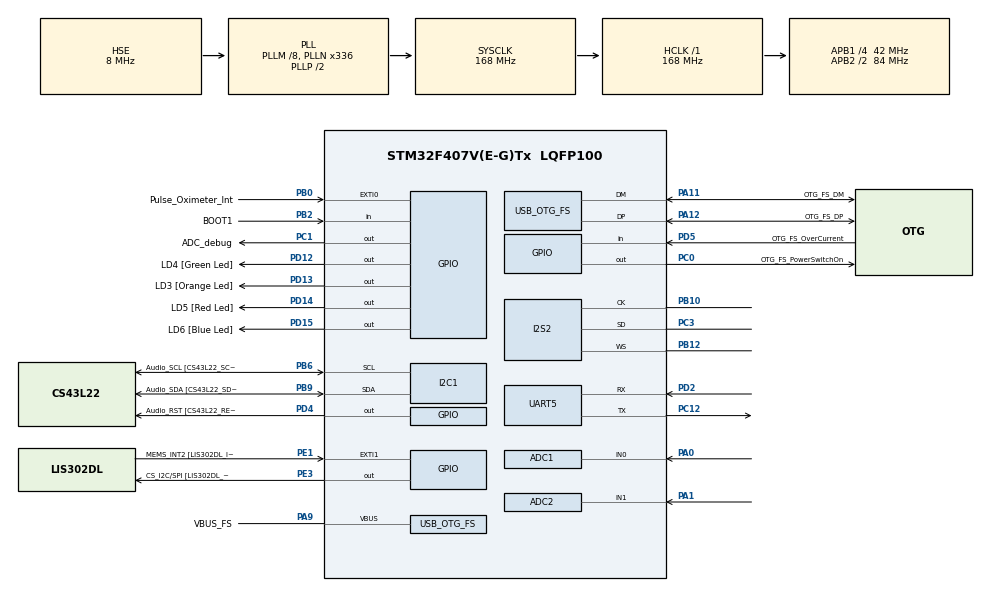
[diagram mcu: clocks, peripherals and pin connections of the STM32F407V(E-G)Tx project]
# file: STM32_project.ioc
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ADC1.Channel-1\#ChannelRegularConversion=ADC_CHANNEL_0
ADC1.ContinuousConvMode=DISABLE
ADC1.DMAContinuousRequests=ENABLE
ADC1.DiscontinuousConvMode=DISABLE
ADC1.ExternalTrigConv=ADC_EXTERNALTRIGCONV_T2_TRGO
ADC1.Mode=ADC_DUALMODE_REGSIMULT
ADC1.NbrOfConversion=1
ADC1.NbrOfConversionFlag=1
ADC1.Rank-1\#ChannelRegularConversion=1
ADC1.SamplingTime-1\#ChannelRegularConversion=ADC_SAMPLETIME_28CYCLES
ADC1.master=1
ADC2.Channel-6\#ChannelRegularConversion=ADC_CHANNEL_1
ADC2.DMAContinuousRequests=ENABLE
ADC2.Mode=ADC_DUALMODE_REGSIMULT
ADC2.NbrOfConversionFlag=1
ADC2.Rank-6\#ChannelRegularConversion=1
ADC2.SamplingTime-6\#ChannelRegularConversion=ADC_SAMPLETIME_28CYCLES
Dma.ADC1.0.Direction=DMA_PERIPH_TO_MEMORY
Dma.ADC1.0.FIFOMode=DMA_FIFOMODE_DISABLE
Dma.ADC1.0.Instance=DMA2_Stream0
Dma.ADC1.0.MemDataAlignment=DMA_MDATAALIGN_HALFWORD
Dma.ADC1.0.MemInc=DMA_MINC_ENABLE
Dma.ADC1.0.Mode=DMA_CIRCULAR
Dma.ADC1.0.PeriphDataAlignment=DMA_PDATAALIGN_HALFWORD
Dma.ADC1.0.PeriphInc=DMA_PINC_DISABLE
Dma.ADC1.0.Priority=DMA_PRIORITY_VERY_HIGH
Dma.ADC2.1.Direction=DMA_PERIPH_TO_MEMORY
Dma.ADC2.1.FIFOMode=DMA_FIFOMODE_DISABLE
Dma.ADC2.1.Instance=DMA2_Stream2
Dma.ADC2.1.MemDataAlignment=DMA_MDATAALIGN_HALFWORD
Dma.ADC2.1.MemInc=DMA_MINC_ENABLE
Dma.ADC2.1.Mode=DMA_CIRCULAR
Dma.ADC2.1.PeriphDataAlignment=DMA_PDATAALIGN_HALFWORD
Dma.ADC2.1.PeriphInc=DMA_PINC_DISABLE
Dma.ADC2.1.Priority=DMA_PRIORITY_VERY_HIGH
Dma.Request0=ADC1
Dma.Request1=ADC2
Dma.Request2=SPI2_TX
Dma.SPI2_TX.2.Direction=DMA_MEMORY_TO_PERIPH
Dma.SPI2_TX.2.FIFOMode=DMA_FIFOMODE_DISABLE
Dma.SPI2_TX.2.Instance=DMA1_Stream4
Dma.SPI2_TX.2.MemDataAlignment=DMA_MDATAALIGN_HALFWORD
Dma.SPI2_TX.2.MemInc=DMA_MINC_ENABLE
Dma.SPI2_TX.2.Mode=DMA_CIRCULAR
Dma.SPI2_TX.2.PeriphDataAlignment=DMA_PDATAALIGN_HALFWORD
Dma.SPI2_TX.2.PeriphInc=DMA_PINC_DISABLE
Dma.SPI2_TX.2.Priority=DMA_PRIORITY_VERY_HIGH
I2C1.I2C_Mode=I2C_Fast
I2S2.AudioFreq=I2S_AUDIOFREQ_48K
I2S2.DataFormat=I2S_DATAFORMAT_16B_EXTENDED
I2S2.ErrorAudioFreq=-0.56 %
I2S2.FullDuplexMode=I2S_FULLDUPLEXMODE_DISABLE
I2S2.Instance=SPI$Index
I2S2.RealAudioFreq=47.727 KHz
I2S2.VirtualMode=I2S_MODE_MASTER
Mcu.Family=STM32F4
Mcu.Name=STM32F407V(E-G)Tx
Mcu.Package=LQFP100
NVIC.DMA1_Stream4_IRQn=true\:0\:0\:false\:false\:true\:false\:true\:true
NVIC.DMA2_Stream0_IRQn=true\:0\:0\:false\:false\:true\:false\:true\:true
NVIC.DMA2_Stream2_IRQn=true\:0\:0\:false\:false\:true\:false\:true\:true
NVIC.EXTI0_IRQn=true\:0\:0\:false\:false\:true\:true\:true\:true
NVIC.OTG_FS_IRQn=true\:0\:0\:false\:false\:true\:true\:true\:true
NVIC.PriorityGroup=NVIC_PRIORITYGROUP_0
PA0-WKUP.Signal=ADCx_IN0
PA1.Signal=ADCx_IN1
PA10.GPIO_Label=OTG_FS_ID
PA10.GPIO_Mode=GPIO_MODE_AF_PP
PA10.GPIO_PuPd=GPIO_NOPULL
PA10.GPIO_Speed=GPIO_SPEED_FREQ_LOW
PA10.Signal=USB_OTG_FS_ID
PA11.GPIO_Label=OTG_FS_DM
PA11.GPIO_Mode=GPIO_MODE_AF_PP
PA11.GPIO_PuPd=GPIO_NOPULL
PA11.GPIO_Speed=GPIO_SPEED_FREQ_LOW
PA11.Mode=Device_Only
PA11.Signal=USB_OTG_FS_DM
PA12.GPIO_Label=OTG_FS_DP
PA12.GPIO_Mode=GPIO_MODE_AF_PP
PA12.GPIO_PuPd=GPIO_NOPULL
PA12.GPIO_Speed=GPIO_SPEED_FREQ_LOW
PA12.Mode=Device_Only
PA12.Signal=USB_OTG_FS_DP
PA13.GPIO_Label=SWDIO
PA13.Mode=Serial_Wire
PA13.Signal=SYS_JTMS-SWDIO
PA14.GPIO_Label=SWCLK
PA14.Mode=Serial_Wire
PA14.Signal=SYS_JTCK-SWCLK
PA9.GPIO_Label=VBUS_FS
PA9.GPIO_Mode=GPIO_MODE_INPUT
PA9.GPIO_PuPd=GPIO_NOPULL
PA9.Mode=Activate_VBUS
PA9.Signal=USB_OTG_FS_VBUS
PB0.GPIO_Label=Pulse_Oximeter_Int
PB0.GPIO_ModeDefaultEXTI=GPIO_MODE_IT_FALLING
PB0.GPIO_PuPd=GPIO_PULLUP
PB0.Signal=GPXTI0
PB10.Mode=Half_Duplex_Master
PB10.Signal=I2S2_CK
PB12.Mode=Half_Duplex_Master
PB12.Signal=I2S2_WS
PB2.GPIO_Label=BOOT1
PB2.GPIO_Mode=GPIO_MODE_INPUT
PB2.GPIO_PuPd=GPIO_NOPULL
PB2.Signal=GPIO_Input
PB3.GPIO_Label=SWO
PB3.Signal=SYS_JTDO-SWO
PB6.GPIO_Label=Audio_SCL [CS43L22_SCL]
PB6.GPIO_Mode=GPIO_MODE_AF_OD
PB6.GPIO_Pu=GPIO_PULLUP
PB6.GPIO_PuPd=GPIO_NOPULL
PB6.GPIO_Speed=GPIO_SPEED_FREQ_LOW
PB6.Mode=I2C
PB6.Signal=I2C1_SCL
PB9.GPIO_Label=Audio_SDA [CS43L22_SDA]
PB9.GPIO_Mode=GPIO_MODE_AF_OD
PB9.GPIO_Pu=GPIO_PULLUP
PB9.GPIO_PuPd=GPIO_NOPULL
PB9.GPIO_Speed=GPIO_SPEED_FREQ_LOW
PB9.Mode=I2C
PB9.Signal=I2C1_SDA
PC0.GPIO_Label=OTG_FS_PowerSwitchOn
PC0.GPIO_PuPd=GPIO_NOPULL
PC0.GPIO_Speed=GPIO_SPEED_FREQ_LOW
PC0.PinState=GPIO_PIN_SET
PC0.Signal=GPIO_Output
PC1.GPIO_Label=ADC_debug
PC1.GPIO_Speed=GPIO_SPEED_FREQ_VERY_HIGH
PC1.Signal=GPIO_Output
PC12.Mode=Asynchronous
PC12.Signal=UART5_TX
PC14-OSC32_IN.GPIO_Label=PC14-OSC32_IN
PC14-OSC32_IN.Mode=LSE-External-Oscillator
PC14-OSC32_IN.Signal=RCC_OSC32_IN
PC15-OSC32_OUT.GPIO_Label=PC15-OSC32_OUT
PC15-OSC32_OUT.Mode=LSE-External-Oscillator
PC15-OSC32_OUT.Signal=RCC_OSC32_OUT
PC3.Mode=Half_Duplex_Master
PC3.Signal=I2S2_SD
PD12.GPIO_Label=LD4 [Green Led]
PD12.GPIO_PuPd=GPIO_NOPULL
PD12.GPIO_Speed=GPIO_SPEED_FREQ_LOW
PD12.Signal=GPIO_Output
PD13.GPIO_Label=LD3 [Orange Led]
PD13.GPIO_PuPd=GPIO_NOPULL
PD13.GPIO_Speed=GPIO_SPEED_FREQ_LOW
PD13.Signal=GPIO_Output
PD14.GPIO_Label=LD5 [Red Led]
PD14.GPIO_PuPd=GPIO_NOPULL
PD14.GPIO_Speed=GPIO_SPEED_FREQ_LOW
PD14.Signal=GPIO_Output
PD15.GPIO_Label=LD6 [Blue Led]
PD15.GPIO_PuPd=GPIO_NOPULL
PD15.GPIO_Speed=GPIO_SPEED_FREQ_LOW
PD15.Signal=GPIO_Output
PD2.Mode=Asynchronous
PD2.Signal=UART5_RX
PD4.GPIO_Label=Audio_RST [CS43L22_RESET]
PD4.GPIO_PuPd=GPIO_NOPULL
PD4.GPIO_Speed=GPIO_SPEED_FREQ_LOW
PD4.Signal=GPIO_Output
PD5.GPIO_Label=OTG_FS_OverCurrent
PD5.GPIO_Mode=GPIO_MODE_INPUT
PD5.GPIO_PuPd=GPIO_NOPULL
PD5.Signal=GPIO_Input
PE1.GPIO_Label=MEMS_INT2 [LIS302DL_INT2]
PE1.GPIO_ModeDefaultEXTI=GPIO_MODE_EVT_RISING
PE1.GPIO_PuPd=GPIO_NOPULL
PE1.Signal=GPXTI1
PE3.GPIO_Label=CS_I2C/SPI [LIS302DL_CS_I2C/SPI]
PE3.GPIO_PuPd=GPIO_NOPULL
PE3.GPIO_Speed=GPIO_SPEED_FREQ_LOW
PE3.Signal=GPIO_Output
PH0-OSC_IN.GPIO_Label=PH0-OSC_IN
PH0-OSC_IN.Mode=HSE-External-Oscillator
PH0-OSC_IN.Signal=RCC_OSC_IN
PH1-OSC_OUT.GPIO_Label=PH1-OSC_OUT
PH1-OSC_OUT.Mode=HSE-External-Oscillator
PH1-OSC_OUT.Signal=RCC_OSC_OUT
ProjectManager.HeapSize=0x200
ProjectManager.StackSize=0x400
ProjectManager.TargetToolchain=STM32CubeIDE
RCC.48MHZClocksFreq_Value=48000000
RCC.AHBFreq_Value=168000000
RCC.APB1CLKDivider=RCC_HCLK_DIV4
RCC.APB1Freq_Value=42000000
RCC.APB1TimFreq_Value=84000000
RCC.APB2CLKDivider=RCC_HCLK_DIV2
RCC.APB2Freq_Value=84000000
RCC.APB2TimFreq_Value=168000000
RCC.CortexFreq_Value=168000000
RCC.HCLKFreq_Value=168000000
RCC.HSE_VALUE=8000000
RCC.HSI_VALUE=16000000
RCC.PLLI2SN=336
RCC.PLLM=8
RCC.PLLN=336
RCC.PLLQ=7
RCC.SYSCLKFreq_VALUE=168000000
RCC.SYSCLKSource=RCC_SYSCLKSOURCE_PLLCLK
RCC.VCOOutputFreq_Value=336000000
SH.ADCx_IN0.0=ADC1_IN0,IN0
SH.ADCx_IN1.0=ADC2_IN1,IN1
TIM2.AutoReloadPreload=TIM_AUTORELOAD_PRELOAD_DISABLE
TIM2.Channel-PWM\ Generation1\ No\ Output=TIM_CHANNEL_1
TIM2.Period=439
TIM2.Prescaler=0
TIM2.Pulse-PWM\ Generation1\ No\ Output=0
TIM2.TIM_MasterOutputTrigger=TIM_TRGO_UPDATE
UART5.VirtualMode=Asynchronous
USB_DEVICE.CLASS_NAME_FS=CDC
USB_DEVICE.VirtualMode-CDC_FS=Cdc
USB_DEVICE.VirtualModeFS=Cdc_FS
USB_OTG_FS.VirtualMode=Device_Only
VP_TIM2_VS_ClockSourceINT.Mode=Internal
VP_TIM2_VS_no_output1.Mode=PWM Generation1 No Output
VP_USB_DEVICE_VS_USB_DEVICE_CDC_FS.Mode=CDC_FS
board=STM32F407G-DISC1

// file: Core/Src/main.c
/* USER CODE BEGIN Header */
/**
 ******************************************************************************
 * @file           : main.c
 * @brief          : Main program body
 ******************************************************************************
 * @attention
 *
 * Copyright (c) 2025 STMicroelectronics.
 * All rights reserved.
 *
 * This software is licensed under terms that can be found in the LICENSE file
 * in the root directory of this software component.
 * If no LICENSE file comes with this software, it is provided AS-IS.
 *
 ******************************************************************************
 */
/* USER CODE END Header */
#include "main.h"
#include "usb_device.h"

/* USER CODE BEGIN Includes */
#include "usbd_cdc_if.h"
#include "system.h"
#include "max30102.h"

#include <math.h>  // Include for sqrt function for RMS

/* USER CODE END Includes */

/* USER CODE BEGIN PD */
#define BPM_SAMPLES_TO_KEEP (MAX30102_SAMPLE_RATE * 3) // want to detect HR at ~20bpm. translates to time of 3 seconds
#define SPO2_SAMPLES_TO_KEEP 1 // maybe just average processed data (moving average)

#define WINDOW_SIZE 10 // window size to average noise level
#define SEND_PULSEOX_PERIOD_MS 1000

#define MIC_OVERSAMPLING 8 // number of samples averaged into a single sample
#define ADC_DC_FILT_COEFF 0.999 // gives -10dB @ 20hz with -20dB/decade roll-off at 40kHz f_sample

/* USER CODE END PD */

ADC_HandleTypeDef hadc1;
ADC_HandleTypeDef hadc2;
DMA_HandleTypeDef hdma_adc1;
DMA_HandleTypeDef hdma_adc2;

I2C_HandleTypeDef hi2c1;

I2S_HandleTypeDef hi2s2;
DMA_HandleTypeDef hdma_spi2_tx;

TIM_HandleTypeDef htim2;

UART_HandleTypeDef huart5;

/* USER CODE BEGIN PV */
long currentMillis = 0;
long lastMillis = 0;

volatile uint8_t pulseOximiterIntFlag = 0;

uint16_t adc1_buffer[MIC_OVERSAMPLING] = {0};
uint16_t adc2_buffer[MIC_OVERSAMPLING] = {0};

volatile int16_t audio_tx_buffer[2] = {0};  // I2S DMA transmit buffer, one for each microphone

uint8_t txBuffer[2] = {0}; // uart buffer for the heart rate transmission to the rpi

/* USER CODE END PV */

void SystemClock_Config(void);
static void MX_GPIO_Init(void);
static void MX_DMA_Init(void);
static void MX_I2C1_Init(void);
static void MX_ADC1_Init(void);
static void MX_TIM2_Init(void);
static void MX_ADC2_Init(void);
static void MX_UART5_Init(void);
static void MX_I2S2_Init(void);

int main(void)
{

  /* MCU Configuration--------------------------------------------------------*/

  /* Reset of all peripherals, Initializes the Flash interface and the Systick. */
  HAL_Init();

  /* Configure the system clock */
  SystemClock_Config();

  /* Initialize all configured peripherals */
  MX_GPIO_Init();
  MX_DMA_Init();
  MX_I2C1_Init();
  MX_USB_DEVICE_Init();
  MX_ADC1_Init();
  MX_TIM2_Init();
  MX_ADC2_Init();
  MX_UART5_Init();
  MX_I2S2_Init();
  /* USER CODE BEGIN 2 */

    MAX30102_Init(); // configure the heart rate sensor

    //HAL_TIM_Base_Start(&htim2); // enable microphone sample timer

    // enable DMA for microphone to record data
	//HAL_ADC_Start_DMA(&hadc1, (uint32_t*)adc_buffer, 2 * MIC_OVERSAMPLING); // cast to 32 because STM moment
	//HAL_I2S_Transmit_DMA(&hi2s2, (uint16_t*)audio_tx_buffer, 2);
    // Ensure an integer number of periods fits into the buffer

    HAL_TIM_Base_Start(&htim2); // enable microphone sample timer

    HAL_ADC_Start_DMA(&hadc2, (uint32_t*)adc2_buffer, MIC_OVERSAMPLING); // cast to 32 because STM moment
    HAL_ADC_Start_DMA(&hadc1, (uint32_t*)adc1_buffer, MIC_OVERSAMPLING); // cast to 32 because STM moment

	HAL_I2S_Transmit_DMA(&hi2s2, (uint16_t*)audio_tx_buffer, 2);

  /* USER CODE END 2 */

  /* Infinite loop */
  /* USER CODE BEGIN WHILE */
	currentMillis = millis();

	while (1)
	{
		if( pulseOximiterIntFlag )
		{
			if (MAX30102_DumpFifo() == HAL_OK) {

				pulseOximiterIntFlag = 0;

				MAX30102_ProcessData();
			}
		}

		// Display the data over the built in USB every 5 seconds
		currentMillis = millis();
		if( currentMillis - lastMillis > SEND_PULSEOX_PERIOD_MS )
		{
			float bpm = MAX30102_getBPM();
			float spo2 = MAX30102_getSPO2();

			// Convert BPM to 8-bit integer
			if (bpm > 255.0f) bpm = 255.0f;
			txBuffer[0] = (uint8_t)bpm;

			// Convert SpO2 to 8-bit integer with range mapping (90%-100%)
			if (spo2 < 90.0f) spo2 = 90.0f;
			if (spo2 > 100.0f) spo2 = 100.0f;
			txBuffer[1] = (uint8_t)((spo2 - 90.0f) * 255.0f / 10.0f);

			// Transmit the data over UART
			HAL_UART_Transmit(&huart5, txBuffer, 2, HAL_MAX_DELAY);

			HAL_GPIO_TogglePin(GPIOD, LD4_Pin | LD3_Pin | LD5_Pin | LD6_Pin);
			lastMillis = currentMillis;
		}
    /* USER CODE END WHILE */

	}
}

void SystemClock_Config(void)
{
  RCC_OscInitTypeDef RCC_OscInitStruct = {0};
  RCC_ClkInitTypeDef RCC_ClkInitStruct = {0};

  /** Configure the main internal regulator output voltage
  */
  __HAL_RCC_PWR_CLK_ENABLE();
  __HAL_PWR_VOLTAGESCALING_CONFIG(PWR_REGULATOR_VOLTAGE_SCALE1);

  /** Initializes the RCC Oscillators according to the specified parameters
  * in the RCC_OscInitTypeDef structure.
  */
  RCC_OscInitStruct.OscillatorType = RCC_OSCILLATORTYPE_HSE;
  RCC_OscInitStruct.HSEState = RCC_HSE_ON;
  RCC_OscInitStruct.PLL.PLLState = RCC_PLL_ON;
  RCC_OscInitStruct.PLL.PLLSource = RCC_PLLSOURCE_HSE;
  RCC_OscInitStruct.PLL.PLLM = 8;
  RCC_OscInitStruct.PLL.PLLN = 336;
  RCC_OscInitStruct.PLL.PLLP = RCC_PLLP_DIV2;
  RCC_OscInitStruct.PLL.PLLQ = 7;
  if (HAL_RCC_OscConfig(&RCC_OscInitStruct) != HAL_OK)
  {
    Error_Handler();
  }

  /** Initializes the CPU, AHB and APB buses clocks
  */
  RCC_ClkInitStruct.ClockType = RCC_CLOCKTYPE_HCLK|RCC_CLOCKTYPE_SYSCLK
                              |RCC_CLOCKTYPE_PCLK1|RCC_CLOCKTYPE_PCLK2;
  RCC_ClkInitStruct.SYSCLKSource = RCC_SYSCLKSOURCE_PLLCLK;
  RCC_ClkInitStruct.AHBCLKDivider = RCC_SYSCLK_DIV1;
  RCC_ClkInitStruct.APB1CLKDivider = RCC_HCLK_DIV4;
  RCC_ClkInitStruct.APB2CLKDivider = RCC_HCLK_DIV2;

  if (HAL_RCC_ClockConfig(&RCC_ClkInitStruct, FLASH_LATENCY_5) != HAL_OK)
  {
    Error_Handler();
  }
}

static void MX_ADC1_Init(void)
{

  ADC_MultiModeTypeDef multimode = {0};
  ADC_ChannelConfTypeDef sConfig = {0};

  /** Configure the global features of the ADC (Clock, Resolution, Data Alignment and number of conversion)
  */
  hadc1.Instance = ADC1;
  hadc1.Init.ClockPrescaler = ADC_CLOCK_SYNC_PCLK_DIV4;
  hadc1.Init.Resolution = ADC_RESOLUTION_12B;
  hadc1.Init.ScanConvMode = DISABLE;
  hadc1.Init.ContinuousConvMode = DISABLE;
  hadc1.Init.DiscontinuousConvMode = DISABLE;
  hadc1.Init.ExternalTrigConvEdge = ADC_EXTERNALTRIGCONVEDGE_RISING;
  hadc1.Init.ExternalTrigConv = ADC_EXTERNALTRIGCONV_T2_TRGO;
  hadc1.Init.DataAlign = ADC_DATAALIGN_RIGHT;
  hadc1.Init.NbrOfConversion = 1;
  hadc1.Init.DMAContinuousRequests = ENABLE;
  hadc1.Init.EOCSelection = ADC_EOC_SINGLE_CONV;
  if (HAL_ADC_Init(&hadc1) != HAL_OK)
  {
    Error_Handler();
  }

  /** Configure the ADC multi-mode
  */
  multimode.Mode = ADC_DUALMODE_REGSIMULT;
  multimode.DMAAccessMode = ADC_DMAACCESSMODE_2;
  multimode.TwoSamplingDelay = ADC_TWOSAMPLINGDELAY_5CYCLES;
  if (HAL_ADCEx_MultiModeConfigChannel(&hadc1, &multimode) != HAL_OK)
  {
    Error_Handler();
  }

  /** Configure for the selected ADC regular channel its corresponding rank in the sequencer and its sample time.
  */
  sConfig.Channel = ADC_CHANNEL_0;
  sConfig.Rank = 1;
  sConfig.SamplingTime = ADC_SAMPLETIME_28CYCLES;
  if (HAL_ADC_ConfigChannel(&hadc1, &sConfig) != HAL_OK)
  {
    Error_Handler();
  }

}

static void MX_ADC2_Init(void)
{

  ADC_ChannelConfTypeDef sConfig = {0};

  /** Configure the global features of the ADC (Clock, Resolution, Data Alignment and number of conversion)
  */
  hadc2.Instance = ADC2;
  hadc2.Init.ClockPrescaler = ADC_CLOCK_SYNC_PCLK_DIV4;
  hadc2.Init.Resolution = ADC_RESOLUTION_12B;
  hadc2.Init.ScanConvMode = DISABLE;
  hadc2.Init.ContinuousConvMode = DISABLE;
  hadc2.Init.DiscontinuousConvMode = DISABLE;
  hadc2.Init.DataAlign = ADC_DATAALIGN_RIGHT;
  hadc2.Init.NbrOfConversion = 1;
  hadc2.Init.DMAContinuousRequests = ENABLE;
  hadc2.Init.EOCSelection = ADC_EOC_SINGLE_CONV;
  if (HAL_ADC_Init(&hadc2) != HAL_OK)
  {
    Error_Handler();
  }

  /** Configure for the selected ADC regular channel its corresponding rank in the sequencer and its sample time.
  */
  sConfig.Channel = ADC_CHANNEL_1;
  sConfig.Rank = 1;
  sConfig.SamplingTime = ADC_SAMPLETIME_28CYCLES;
  if (HAL_ADC_ConfigChannel(&hadc2, &sConfig) != HAL_OK)
  {
    Error_Handler();
  }

}

static void MX_I2C1_Init(void)
{

  hi2c1.Instance = I2C1;
  hi2c1.Init.ClockSpeed = 400000;
  hi2c1.Init.DutyCycle = I2C_DUTYCYCLE_2;
  hi2c1.Init.OwnAddress1 = 0;
  hi2c1.Init.AddressingMode = I2C_ADDRESSINGMODE_7BIT;
  hi2c1.Init.DualAddressMode = I2C_DUALADDRESS_DISABLE;
  hi2c1.Init.OwnAddress2 = 0;
  hi2c1.Init.GeneralCallMode = I2C_GENERALCALL_DISABLE;
  hi2c1.Init.NoStretchMode = I2C_NOSTRETCH_DISABLE;
  if (HAL_I2C_Init(&hi2c1) != HAL_OK)
  {
    Error_Handler();
  }

}

static void MX_I2S2_Init(void)
{

  hi2s2.Instance = SPI2;
  hi2s2.Init.Mode = I2S_MODE_MASTER_TX;
  hi2s2.Init.Standard = I2S_STANDARD_PHILIPS;
  hi2s2.Init.DataFormat = I2S_DATAFORMAT_16B_EXTENDED;
  hi2s2.Init.MCLKOutput = I2S_MCLKOUTPUT_DISABLE;
  hi2s2.Init.AudioFreq = I2S_AUDIOFREQ_48K;
  hi2s2.Init.CPOL = I2S_CPOL_LOW;
  hi2s2.Init.ClockSource = I2S_CLOCK_PLL;
  hi2s2.Init.FullDuplexMode = I2S_FULLDUPLEXMODE_DISABLE;
  if (HAL_I2S_Init(&hi2s2) != HAL_OK)
  {
    Error_Handler();
  }

}

static void MX_TIM2_Init(void)
{

  TIM_ClockConfigTypeDef sClockSourceConfig = {0};
  TIM_MasterConfigTypeDef sMasterConfig = {0};
  TIM_OC_InitTypeDef sConfigOC = {0};

  htim2.Instance = TIM2;
  htim2.Init.Prescaler = 0;
  htim2.Init.CounterMode = TIM_COUNTERMODE_UP;
  htim2.Init.Period = 439;
  htim2.Init.ClockDivision = TIM_CLOCKDIVISION_DIV1;
  htim2.Init.AutoReloadPreload = TIM_AUTORELOAD_PRELOAD_DISABLE;
  if (HAL_TIM_Base_Init(&htim2) != HAL_OK)
  {
    Error_Handler();
  }
  sClockSourceConfig.ClockSource = TIM_CLOCKSOURCE_INTERNAL;
  if (HAL_TIM_ConfigClockSource(&htim2, &sClockSourceConfig) != HAL_OK)
  {
    Error_Handler();
  }
  if (HAL_TIM_PWM_Init(&htim2) != HAL_OK)
  {
    Error_Handler();
  }
  sMasterConfig.MasterOutputTrigger = TIM_TRGO_UPDATE;
  sMasterConfig.MasterSlaveMode = TIM_MASTERSLAVEMODE_DISABLE;
  if (HAL_TIMEx_MasterConfigSynchronization(&htim2, &sMasterConfig) != HAL_OK)
  {
    Error_Handler();
  }
  sConfigOC.OCMode = TIM_OCMODE_PWM1;
  sConfigOC.Pulse = 0;
  sConfigOC.OCPolarity = TIM_OCPOLARITY_HIGH;
  sConfigOC.OCFastMode = TIM_OCFAST_DISABLE;
  if (HAL_TIM_PWM_ConfigChannel(&htim2, &sConfigOC, TIM_CHANNEL_1) != HAL_OK)
  {
    Error_Handler();
  }

}

static void MX_UART5_Init(void)
{

  huart5.Instance = UART5;
  huart5.Init.BaudRate = 115200;
  huart5.Init.WordLength = UART_WORDLENGTH_8B;
  huart5.Init.StopBits = UART_STOPBITS_1;
  huart5.Init.Parity = UART_PARITY_NONE;
  huart5.Init.Mode = UART_MODE_TX_RX;
  huart5.Init.HwFlowCtl = UART_HWCONTROL_NONE;
  huart5.Init.OverSampling = UART_OVERSAMPLING_16;
  if (HAL_UART_Init(&huart5) != HAL_OK)
  {
    Error_Handler();
  }

}

static void MX_DMA_Init(void)
{

  /* DMA controller clock enable */
  __HAL_RCC_DMA2_CLK_ENABLE();
  __HAL_RCC_DMA1_CLK_ENABLE();

  /* DMA interrupt init */
  /* DMA1_Stream4_IRQn interrupt configuration */
  HAL_NVIC_SetPriority(DMA1_Stream4_IRQn, 0, 0);
  HAL_NVIC_EnableIRQ(DMA1_Stream4_IRQn);
  /* DMA2_Stream0_IRQn interrupt configuration */
  HAL_NVIC_SetPriority(DMA2_Stream0_IRQn, 0, 0);
  HAL_NVIC_EnableIRQ(DMA2_Stream0_IRQn);
  /* DMA2_Stream2_IRQn interrupt configuration */
  HAL_NVIC_SetPriority(DMA2_Stream2_IRQn, 0, 0);
  HAL_NVIC_EnableIRQ(DMA2_Stream2_IRQn);

}

static void MX_GPIO_Init(void)
{
  GPIO_InitTypeDef GPIO_InitStruct = {0};

  /* GPIO Ports Clock Enable */
  __HAL_RCC_GPIOE_CLK_ENABLE();
  __HAL_RCC_GPIOC_CLK_ENABLE();
  __HAL_RCC_GPIOH_CLK_ENABLE();
  __HAL_RCC_GPIOA_CLK_ENABLE();
  __HAL_RCC_GPIOB_CLK_ENABLE();
  __HAL_RCC_GPIOD_CLK_ENABLE();

  /*Configure GPIO pin Output Level */
  HAL_GPIO_WritePin(CS_I2C_SPI_GPIO_Port, CS_I2C_SPI_Pin, GPIO_PIN_RESET);

  /*Configure GPIO pin Output Level */
  HAL_GPIO_WritePin(OTG_FS_PowerSwitchOn_GPIO_Port, OTG_FS_PowerSwitchOn_Pin, GPIO_PIN_SET);

  /*Configure GPIO pin Output Level */
  HAL_GPIO_WritePin(ADC_debug_GPIO_Port, ADC_debug_Pin, GPIO_PIN_RESET);

  /*Configure GPIO pin Output Level */
  HAL_GPIO_WritePin(GPIOD, LD4_Pin|LD3_Pin|LD5_Pin|LD6_Pin
                          |Audio_RST_Pin, GPIO_PIN_RESET);

  /*Configure GPIO pin : CS_I2C_SPI_Pin */
  GPIO_InitStruct.Pin = CS_I2C_SPI_Pin;
  GPIO_InitStruct.Mode = GPIO_MODE_OUTPUT_PP;
  GPIO_InitStruct.Pull = GPIO_NOPULL;
  GPIO_InitStruct.Speed = GPIO_SPEED_FREQ_LOW;
  HAL_GPIO_Init(CS_I2C_SPI_GPIO_Port, &GPIO_InitStruct);

  /*Configure GPIO pin : OTG_FS_PowerSwitchOn_Pin */
  GPIO_InitStruct.Pin = OTG_FS_PowerSwitchOn_Pin;
  GPIO_InitStruct.Mode = GPIO_MODE_OUTPUT_PP;
  GPIO_InitStruct.Pull = GPIO_NOPULL;
  GPIO_InitStruct.Speed = GPIO_SPEED_FREQ_LOW;
  HAL_GPIO_Init(OTG_FS_PowerSwitchOn_GPIO_Port, &GPIO_InitStruct);

  /*Configure GPIO pin : ADC_debug_Pin */
  GPIO_InitStruct.Pin = ADC_debug_Pin;
  GPIO_InitStruct.Mode = GPIO_MODE_OUTPUT_PP;
  GPIO_InitStruct.Pull = GPIO_NOPULL;
  GPIO_InitStruct.Speed = GPIO_SPEED_FREQ_VERY_HIGH;
  HAL_GPIO_Init(ADC_debug_GPIO_Port, &GPIO_InitStruct);

  /*Configure GPIO pin : Pulse_Oximeter_Int_Pin */
  GPIO_InitStruct.Pin = Pulse_Oximeter_Int_Pin;
  GPIO_InitStruct.Mode = GPIO_MODE_IT_FALLING;
  GPIO_InitStruct.Pull = GPIO_PULLUP;
  HAL_GPIO_Init(Pulse_Oximeter_Int_GPIO_Port, &GPIO_InitStruct);

  /*Configure GPIO pin : BOOT1_Pin */
  GPIO_InitStruct.Pin = BOOT1_Pin;
  GPIO_InitStruct.Mode = GPIO_MODE_INPUT;
  GPIO_InitStruct.Pull = GPIO_NOPULL;
  HAL_GPIO_Init(BOOT1_GPIO_Port, &GPIO_InitStruct);

  /*Configure GPIO pins : LD4_Pin LD3_Pin LD5_Pin LD6_Pin
                           Audio_RST_Pin */
  GPIO_InitStruct.Pin = LD4_Pin|LD3_Pin|LD5_Pin|LD6_Pin
                          |Audio_RST_Pin;
  GPIO_InitStruct.Mode = GPIO_MODE_OUTPUT_PP;
  GPIO_InitStruct.Pull = GPIO_NOPULL;
  GPIO_InitStruct.Speed = GPIO_SPEED_FREQ_LOW;
  HAL_GPIO_Init(GPIOD, &GPIO_InitStruct);

  /*Configure GPIO pin : OTG_FS_OverCurrent_Pin */
  GPIO_InitStruct.Pin = OTG_FS_OverCurrent_Pin;
  GPIO_InitStruct.Mode = GPIO_MODE_INPUT;
  GPIO_InitStruct.Pull = GPIO_NOPULL;
  HAL_GPIO_Init(OTG_FS_OverCurrent_GPIO_Port, &GPIO_InitStruct);

  /*Configure GPIO pin : MEMS_INT2_Pin */
  GPIO_InitStruct.Pin = MEMS_INT2_Pin;
  GPIO_InitStruct.Mode = GPIO_MODE_EVT_RISING;
  GPIO_InitStruct.Pull = GPIO_NOPULL;
  HAL_GPIO_Init(MEMS_INT2_GPIO_Port, &GPIO_InitStruct);

  /* EXTI interrupt init*/
  HAL_NVIC_SetPriority(EXTI0_IRQn, 0, 0);
  HAL_NVIC_EnableIRQ(EXTI0_IRQn);

}

/* USER CODE BEGIN 4 */
void HAL_GPIO_EXTI_Callback(uint16_t GPIO_Pin)
{
	if(GPIO_Pin == Pulse_Oximeter_Int_Pin)
	{
		pulseOximiterIntFlag = 1;
	}
}

void HAL_ADC_ConvCpltCallback(ADC_HandleTypeDef* hadc) {
	static float adc_dc_left = 0.0; // left microphone is PA0 i think
	static float adc_dc_right = 0.0;
	static uint16_t adc_sum_left = 0;
	static uint16_t adc_sum_right = 0;

	if (hadc->Instance == ADC1) {
		adc_sum_left = 0;

		for (int i = 0; i < MIC_OVERSAMPLING; i++) {
			adc_sum_left += adc1_buffer[i];
		}
		adc_sum_left = adc_sum_left / 2;

		adc_dc_left 	= ADC_DC_FILT_COEFF * adc_dc_left 	+ (1-ADC_DC_FILT_COEFF) * adc_sum_left; // calculate dc offset

		audio_tx_buffer[0] = (int16_t)(adc_dc_left - adc_sum_left); // remove dc offset from sum and invert

		//HAL_GPIO_TogglePin(GPIOC, ADC_debug_Pin);
	}

	if (hadc->Instance == ADC2) {
		adc_sum_right = 0;

		for (int i = 0; i < MIC_OVERSAMPLING; i++) {
			adc_sum_right += adc2_buffer[i];
		}
		adc_sum_right = adc_sum_right / 2;

		adc_dc_right 	= ADC_DC_FILT_COEFF * adc_dc_right 	+ (1-ADC_DC_FILT_COEFF) * adc_sum_right; // calculate dc offset

		audio_tx_buffer[1] = (int16_t)(adc_dc_right - adc_sum_right); // remove dc offset from sum and invert

		//HAL_GPIO_TogglePin(GPIOC, ADC_debug_Pin);
	}
	HAL_GPIO_TogglePin(GPIOC, ADC_debug_Pin);
}

/* USER CODE END 4 */

void Error_Handler(void)
{
	__disable_irq();
	while (1)
	{
	}
}
